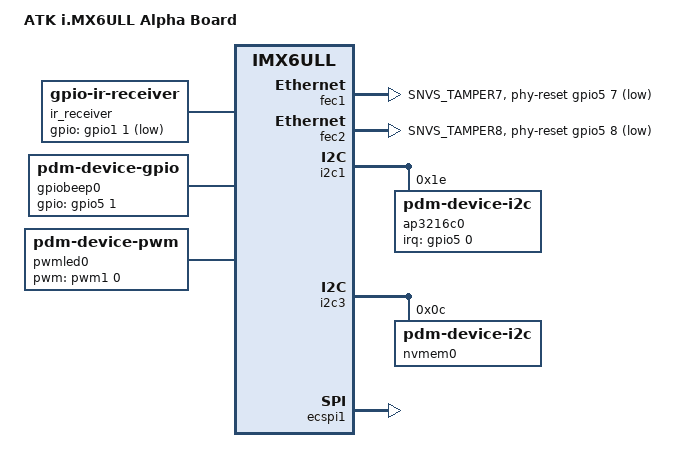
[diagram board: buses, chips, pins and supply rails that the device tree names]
// SPDX-License-Identifier: (GPL-2.0 OR MIT)
//
// Board-specific device tree for the ATK Alpha hardware.

/dts-v1/;

#include "nxp/imx/imx6ull.dtsi"
#include "nxp/imx/imx6ul-14x14-evk.dtsi"

/ {
	model = "ATK i.MX6ULL Alpha Board";
	compatible = "atk,imx6ull-atk-alpha", "fsl,imx6ull";

	sound-wm8960 {
		status = "disabled";
	};

	spi-4 {
		status = "disabled";
	};

	ir_receiver: gpio-device@0 {
		compatible = "gpio-ir-receiver";
		pinctrl-names = "default";
		pinctrl-0 = <&pinctrl_ir_recv>;
		gpios = <&gpio1 1 GPIO_ACTIVE_LOW>;
		status = "okay";
	};

	gpiobeep0: pdmdev-gpio@1 {
		index = <1>;
		compatible = "pdm-device-gpio", "pdm-switch-gpio";
		pinctrl-names = "default";
		pinctrl-0 = <&pinctrl_gpio_beep>;
		gpios = <&gpio5 1 GPIO_ACTIVE_HIGH>;
		default-state = "off";
		status = "okay";
	};

	pwmled0: pdmdev-pwm@0 {
		index = <0>;
		compatible = "pdm-device-pwm", "pdm-dimmer-pwm";
		pwms = <&pwm1 0 5000000 0>;
		level-map = <0 15 30 45 70 85 100 130 180 250>;
		default-level = <0>;
		status = "okay";
	};
};

&clks {
	assigned-clocks = <&clks IMX6UL_CLK_PLL3_PFD2>;
	assigned-clock-rates = <320000000>;
};

&iomuxc {
	pinctrl_fec1_reset: fec1_resetgrp {
		fsl,pins = <
			MX6UL_PAD_SNVS_TAMPER7__GPIO5_IO07	0x79
		>;
	};

	pinctrl_fec2_reset: fec2_resetgrp {
		fsl,pins = <
			MX6UL_PAD_SNVS_TAMPER8__GPIO5_IO08	0x79
		>;
	};

	pinctrl_ir_recv: irrecvgrp {
		fsl,pins = <
			MX6UL_PAD_GPIO1_IO01__GPIO1_IO01	0x1b0b0
		>;
	};

	pinctrl_gpio_beep: gpio-beeps {
		fsl,pins = <
			MX6UL_PAD_SNVS_TAMPER1__GPIO5_IO01	0x10B0
		>;
	};
};

&fec1 {
	pinctrl-0 = <&pinctrl_enet1 &pinctrl_fec1_reset>;
	phy-reset-gpios = <&gpio5 7 GPIO_ACTIVE_LOW>;
	phy-reset-duration = <200>;
	status = "okay";
};

&fec2 {
	pinctrl-0 = <&pinctrl_enet2 &pinctrl_fec2_reset>;
	phy-reset-gpios = <&gpio5 8 GPIO_ACTIVE_LOW>;
	phy-reset-duration = <200>;
	status = "okay";
};

&ethphy0 {
	compatible = "ethernet-phy-id0007.c0f0";
	smsc,led-mode = <1>;

	/* ENET1_INT_TREE# -> J2_10 -> SNVS_TAMPER5 -> GPIO5_IO05. */
	interrupt-parent = <&gpio5>;
	interrupts = <5 IRQ_TYPE_LEVEL_LOW>;
};

&ethphy1 {
	compatible = "ethernet-phy-id0007.c0f0";
	smsc,led-mode = <1>;
};

&can1 {
	status = "disabled";
};

&can2 {
	status = "disabled";
};

&i2c2 {
	status = "disabled";
};

&sai2 {
	status = "disabled";
};

&reg_can_3v3 {
	status = "disabled";
};

&tsc {
	status = "disabled";
};

&i2c1 {
	status = "okay";

	ap3216c0: pdmdev-i2c@1e {
		compatible = "pdm-device-i2c", "pdm-sensor-ap3216c";
		reg = <0x1e>;
		position = <0>;
		interrupt-parent = <&gpio5>;
		interrupts = <0 8>;
		status = "okay";
	};
};

&i2c3 {
	status = "okay";

	nvmem0: pdmdev-i2c@c {
		reg = <0xc>;
		compatible = "pdm-device-i2c", "pdm-nvmem-i2c";
		status = "okay";
	};
};

&ecspi1 {
	status = "okay";
	dmas = <>;
	dma-names = "";

	nvmem1: pdmdev-spi@0 {
		reg = <0>;
		compatible = "pdm-device-spi", "pdm-nvmem-spi";
		status = "disabled";
	};
};
